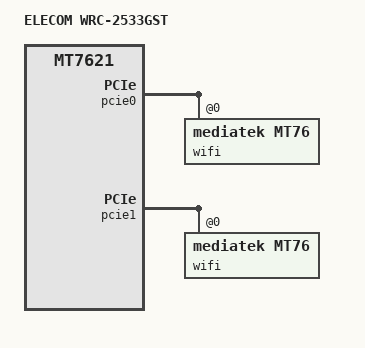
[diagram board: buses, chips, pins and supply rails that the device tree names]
/dts-v1/;

#include "mt7621_elecom_wrc-gst.dtsi"

/ {
	compatible = "elecom,wrc-2533gst", "mediatek,mt7621-soc";
	model = "ELECOM WRC-2533GST";
};

&gmac0 {
	mtd-mac-address = <&factory 0xe000>;
};

&wan {
	mtd-mac-address = <&factory 0xe006>;
};

&partitions {
	partition@50000 {
		compatible = "denx,uimage";
		label = "firmware";
		reg = <0x50000 0xb00000>;
	};

	partition@b50000 {
		label = "tm_pattern";
		reg = <0xb50000 0x380000>;
		read-only;
	};

	partition@ed0000 {
		label = "tm_key";
		reg = <0xed0000 0x80000>;
		read-only;
	};

	partition@f50000 {
		label = "art_block";
		reg = <0xf50000 0x30000>;
		read-only;
	};

	partition@f80000 {
		label = "user_data";
		reg = <0xf80000 0x80000>;
		read-only;
	};
};

&pcie0 {
	wifi@0,0 {
		compatible = "mediatek,mt76";
		reg = <0x0000 0 0 0 0>;
		mediatek,mtd-eeprom = <&factory 0x0000>;
		ieee80211-freq-limit = <2400000 2500000>;

		led {
			led-sources = <0>;
			led-active-low;
		};
	};
};

&pcie1 {
	wifi@0,0 {
		compatible = "mediatek,mt76";
		reg = <0x0000 0 0 0 0>;
		mediatek,mtd-eeprom = <&factory 0x8000>;
		ieee80211-freq-limit = <5000000 6000000>;

		led {
			led-sources = <0>;
			led-active-low;
		};
	};
};

&state_default {
	gpio {
		groups = "uart3", "jtag", "wdt", "sdhci";
		function = "gpio";
	};
};
